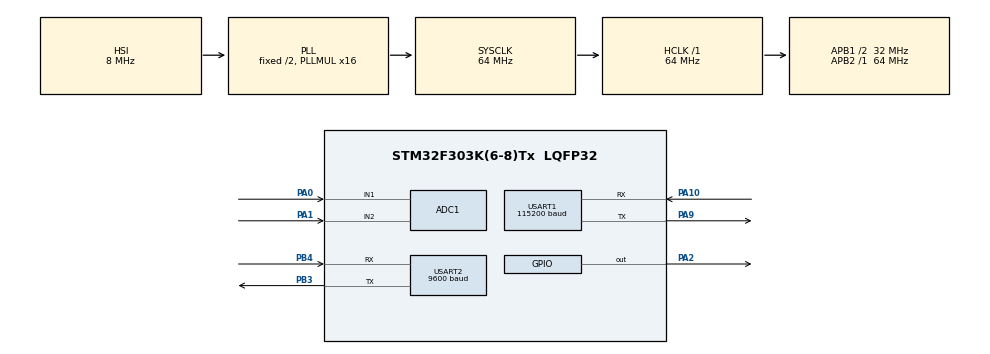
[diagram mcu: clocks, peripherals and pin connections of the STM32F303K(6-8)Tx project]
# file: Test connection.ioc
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ADC1.Channel-0\#ChannelRegularConversion=ADC_CHANNEL_2
ADC1.NbrOfConversionFlag=1
ADC1.Offset-0\#ChannelRegularConversion=0
ADC1.OffsetNumber-0\#ChannelRegularConversion=ADC_OFFSET_NONE
ADC1.Rank-0\#ChannelRegularConversion=1
ADC1.SamplingTime-0\#ChannelRegularConversion=ADC_SAMPLETIME_1CYCLE_5
ADC1.SubFamily=STM32F303x8
ADC1.master=1
Mcu.Family=STM32F3
Mcu.Name=STM32F303K(6-8)Tx
Mcu.Package=LQFP32
NVIC.PriorityGroup=NVIC_PRIORITYGROUP_4
NVIC.USART1_IRQn=true\:0\:0\:false\:false\:true\:true\:true\:true
NVIC.USART2_IRQn=true\:0\:0\:false\:false\:true\:true\:true\:true
PA0.Mode=IN1-Single-Ended
PA0.Signal=ADC1_IN1
PA1.Mode=IN2-Single-Ended
PA1.Signal=ADC1_IN2
PA10.Mode=Asynchronous
PA10.Signal=USART1_RX
PA13.Mode=Serial_Wire
PA13.Signal=SYS_JTMS-SWDIO
PA14.Mode=Serial_Wire
PA14.Signal=SYS_JTCK-SWCLK
PA2.Signal=GPIO_Output
PA9.Mode=Asynchronous
PA9.Signal=USART1_TX
PB3.GPIO_ModeDefaultPP=GPIO_MODE_AF_OD
PB3.GPIO_PuPd=GPIO_NOPULL
PB3.Mode=Asynchronous
PB3.Signal=USART2_TX
PB4.Mode=Asynchronous
PB4.Signal=USART2_RX
ProjectManager.HeapSize=0x200
ProjectManager.StackSize=0x400
ProjectManager.TargetToolchain=STM32CubeIDE
RCC.AHBFreq_Value=64000000
RCC.APB1CLKDivider=RCC_HCLK_DIV2
RCC.APB1Freq_Value=32000000
RCC.APB1TimFreq_Value=64000000
RCC.APB2Freq_Value=64000000
RCC.APB2TimFreq_Value=64000000
RCC.CortexFreq_Value=64000000
RCC.HCLKFreq_Value=64000000
RCC.HSE_VALUE=8000000
RCC.HSI_VALUE=8000000
RCC.PLLMUL=RCC_PLL_MUL16
RCC.SYSCLKFreq_VALUE=64000000
RCC.SYSCLKSourceVirtual=RCC_SYSCLKSOURCE_PLLCLK
USART1.BaudRate=115200
USART1.VirtualMode-Asynchronous=VM_ASYNC
USART2.BaudRate=9600
USART2.VirtualMode-Asynchronous=VM_ASYNC
board=custom

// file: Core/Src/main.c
/* USER CODE BEGIN Header */
/**
  ******************************************************************************
  * @file           : main.c
  * @brief          : Main program body
  ******************************************************************************
  * @attention
  *
  * Copyright (c) 2022 STMicroelectronics.
  * All rights reserved.
  *
  * This software is licensed under terms that can be found in the LICENSE file
  * in the root directory of this software component.
  * If no LICENSE file comes with this software, it is provided AS-IS.
  *
  ******************************************************************************
  */
/* USER CODE END Header */
#include "main.h"

/* USER CODE BEGIN Includes */
#include <stdio.h>
#include <string.h>

#define rx_buffer_size 512
#define rxn_buffer_size 512

uint8_t rx_buffer[rx_buffer_size] = { 0, };
uint8_t rxn_buffer[rxn_buffer_size] = { 0, };

 uint16_t rx_buffer_len;
 uint16_t rxn_buffer_len;

 uint8_t comand=0;
 uint8_t data_len=0;
 uint8_t version=0;
 uint16_t summ=0;
 uint8_t data_point=0;
 int cnt=0;
 char buffer[512] = { 0, };
 char buffer_t[512] ={0,};
 char buffer_n[512] ={0,};
 //uint8_t tm_buffer[tm_buffer_size] = { 0, };
 uint16_t tm_buffer_len;
 uint8_t tm_buffer[]={0x55,0xaa,0x00,0x06,0x00,0x08,0x10,0x02,0x00,0x04,0x00,0x00,0x01,0x8b,0xaf};

/* USER CODE END Includes */

ADC_HandleTypeDef hadc1;

UART_HandleTypeDef huart1;
UART_HandleTypeDef huart2;

void SystemClock_Config(void);
static void MX_GPIO_Init(void);
static void MX_ADC1_Init(void);
static void MX_USART1_UART_Init(void);
static void MX_USART2_UART_Init(void);
/* USER CODE BEGIN PFP */
void UART_SNIFF(void);
/* USER CODE END PFP */

/* USER CODE BEGIN 0 */

void UART_SNIFF(void){

	   for(int k=0;k<rx_buffer_len;){
		  sprintf(buffer_n, "%02x,",rx_buffer[k]);
		  HAL_UART_Transmit(&huart1,buffer_n,3,400);
		  k++;}

	for(cnt=0;cnt<rx_buffer_len;)   {

	   if((rx_buffer[cnt]==0x55)&&(rx_buffer[cnt+1]==0xAA)){
	   version=rx_buffer[cnt+2];
	   comand=rx_buffer[cnt+3];
	   data_len=rx_buffer[cnt+5];
	   data_point=rx_buffer[cnt+6];
	   summ=0;

    for(int i=cnt;i<=cnt+5+data_len;i++){
	   summ=rx_buffer[i]+summ;  }
	   summ=summ%256;

	   sprintf(buffer, "\n\rVers-%02x Cmd-%02x Data LEN-%02d DT_PT-%02x CHKS-%02x \n\r",version,comand,data_len,data_point,summ);
	   HAL_UART_Transmit(&huart1, buffer, strlen(buffer),400);

	   for(int k=cnt+6;k<=(cnt+data_len+5);){
	   sprintf(buffer_t, "Dat %02d-%02x \n\r",(k-6-cnt),rx_buffer[k]);
	   HAL_UART_Transmit(&huart1, buffer_t,12,300);
	   k++;  }

    for(int k=cnt;k<=(cnt+data_len+6);){
	   sprintf(buffer_n, "%02x, ",rx_buffer[k]);
	   HAL_UART_Transmit(&huart1,buffer_n,3,400);
	   k++; }

	   }

	   cnt++;
	}

}

void HAL_UART_RxCpltCallback(UART_HandleTypeDef *huart){

 /*
	if (huart == &huart2) { //проверка, из нужного ли uart пришли данные
				//printf("RxCpltCallback = OK\n\r");
				__HAL_UART_DISABLE_IT(&huart2, UART_IT_IDLE);

			//	printf("rx_buffer is overflow\n\r");

				HAL_UART_AbortReceive_IT(&huart2);
				__HAL_UART_CLEAR_IDLEFLAG(&huart2);
				__HAL_UART_ENABLE_IT(&huart2, UART_IT_IDLE);
				HAL_UART_Receive_IT(&huart2, rx_buffer, rx_buffer_size);

                                  	}
    */
	if (huart == &huart1) { //проверка, из нужного ли uart пришли данные
					//printf("RxCpltCallback = OK\n\r");
					__HAL_UART_DISABLE_IT(&huart1, UART_IT_IDLE);

				//	printf("rx_buffer is overflow\n\r");

					HAL_UART_AbortReceive_IT(&huart1);
					__HAL_UART_CLEAR_IDLEFLAG(&huart1);
					__HAL_UART_ENABLE_IT(&huart1, UART_IT_IDLE);
					HAL_UART_Receive_IT(&huart1, rxn_buffer, rxn_buffer_size);

	                                  	}
                      }

void HAL_UART_IDLE_Callback(UART_HandleTypeDef *huart){
  /*
   if(huart == &huart2) { //проверка, из нужного ли uart пришли данные
			//printf("IDLE = OK\n\r");
			__HAL_UART_DISABLE_IT(&huart2, UART_IT_IDLE);
			rx_buffer_len = rx_buffer_size - huart->RxXferCount;

			//----------основные действия с входящими данными-----------
			if(huart2.gState != HAL_UART_STATE_BUSY_TX) {

				        UART_SNIFF();

			         	HAL_UART_AbortReceive_IT(&huart2);
							__HAL_UART_CLEAR_IDLEFLAG(&huart2);
							__HAL_UART_ENABLE_IT(&huart2, UART_IT_IDLE);
							HAL_UART_Receive_IT(&huart2, rx_buffer, rx_buffer_size);
							//HAL_UART_Transmit(&huart2, tm_buffer,15,1000);
						}

		          	}
     */
   if(huart == &huart1) { //проверка, из нужного ли uart пришли данные
  			//printf("IDLE = OK\n\r");
  			__HAL_UART_DISABLE_IT(&huart1, UART_IT_IDLE);
  			rxn_buffer_len = rxn_buffer_size - huart->RxXferCount;

  			//----------основные действия с входящими данными-----------
  			if(huart1.gState != HAL_UART_STATE_BUSY_RX) {

  				      //  UART_SNIFF();
  				HAL_UART_Transmit(&huart1, rxn_buffer,strlen(rxn_buffer),100);
  			         	HAL_UART_AbortReceive_IT(&huart1);
  							__HAL_UART_CLEAR_IDLEFLAG(&huart1);
  							__HAL_UART_ENABLE_IT(&huart1, UART_IT_IDLE);
  							HAL_UART_Receive_IT(&huart1, rxn_buffer, rxn_buffer_size);}

  		          	}

                 }

/* USER CODE END 0 */

int main(void)
{

  /* MCU Configuration--------------------------------------------------------*/

  /* Reset of all peripherals, Initializes the Flash interface and the Systick. */
  HAL_Init();

  /* Configure the system clock */
  SystemClock_Config();

  /* Initialize all configured peripherals */
  MX_GPIO_Init();
  MX_ADC1_Init();
  MX_USART1_UART_Init();
  MX_USART2_UART_Init();
  /* USER CODE BEGIN 2 */

  __HAL_UART_ENABLE_IT(&huart1,UART_IT_IDLE);
  HAL_UART_Receive_IT(&huart1, rxn_buffer, rxn_buffer_size);

  __HAL_UART_ENABLE_IT(&huart2,UART_IT_IDLE);
 HAL_UART_Receive_IT(&huart2, rx_buffer, rx_buffer_size);

  /* USER CODE END 2 */

  /* Infinite loop */
  /* USER CODE BEGIN WHILE */
  while (1)
  {

	  HAL_Delay(2000);

    /* USER CODE END WHILE */

  }
}

void SystemClock_Config(void)
{
  RCC_OscInitTypeDef RCC_OscInitStruct = {0};
  RCC_ClkInitTypeDef RCC_ClkInitStruct = {0};
  RCC_PeriphCLKInitTypeDef PeriphClkInit = {0};

  /** Initializes the RCC Oscillators according to the specified parameters
  * in the RCC_OscInitTypeDef structure.
  */
  RCC_OscInitStruct.OscillatorType = RCC_OSCILLATORTYPE_HSI;
  RCC_OscInitStruct.HSIState = RCC_HSI_ON;
  RCC_OscInitStruct.HSICalibrationValue = RCC_HSICALIBRATION_DEFAULT;
  RCC_OscInitStruct.PLL.PLLState = RCC_PLL_ON;
  RCC_OscInitStruct.PLL.PLLSource = RCC_PLLSOURCE_HSI;
  RCC_OscInitStruct.PLL.PLLMUL = RCC_PLL_MUL16;
  if (HAL_RCC_OscConfig(&RCC_OscInitStruct) != HAL_OK)
  {
    Error_Handler();
  }

  /** Initializes the CPU, AHB and APB buses clocks
  */
  RCC_ClkInitStruct.ClockType = RCC_CLOCKTYPE_HCLK|RCC_CLOCKTYPE_SYSCLK
                              |RCC_CLOCKTYPE_PCLK1|RCC_CLOCKTYPE_PCLK2;
  RCC_ClkInitStruct.SYSCLKSource = RCC_SYSCLKSOURCE_PLLCLK;
  RCC_ClkInitStruct.AHBCLKDivider = RCC_SYSCLK_DIV1;
  RCC_ClkInitStruct.APB1CLKDivider = RCC_HCLK_DIV2;
  RCC_ClkInitStruct.APB2CLKDivider = RCC_HCLK_DIV1;

  if (HAL_RCC_ClockConfig(&RCC_ClkInitStruct, FLASH_LATENCY_2) != HAL_OK)
  {
    Error_Handler();
  }
  PeriphClkInit.PeriphClockSelection = RCC_PERIPHCLK_USART1|RCC_PERIPHCLK_ADC12;
  PeriphClkInit.Usart1ClockSelection = RCC_USART1CLKSOURCE_PCLK1;
  PeriphClkInit.Adc12ClockSelection = RCC_ADC12PLLCLK_DIV1;
  if (HAL_RCCEx_PeriphCLKConfig(&PeriphClkInit) != HAL_OK)
  {
    Error_Handler();
  }
}

static void MX_ADC1_Init(void)
{

  ADC_MultiModeTypeDef multimode = {0};
  ADC_ChannelConfTypeDef sConfig = {0};

  /** Common config
  */
  hadc1.Instance = ADC1;
  hadc1.Init.ClockPrescaler = ADC_CLOCK_ASYNC_DIV1;
  hadc1.Init.Resolution = ADC_RESOLUTION_12B;
  hadc1.Init.ScanConvMode = ADC_SCAN_DISABLE;
  hadc1.Init.ContinuousConvMode = DISABLE;
  hadc1.Init.DiscontinuousConvMode = DISABLE;
  hadc1.Init.ExternalTrigConvEdge = ADC_EXTERNALTRIGCONVEDGE_NONE;
  hadc1.Init.ExternalTrigConv = ADC_SOFTWARE_START;
  hadc1.Init.DataAlign = ADC_DATAALIGN_RIGHT;
  hadc1.Init.NbrOfConversion = 1;
  hadc1.Init.DMAContinuousRequests = DISABLE;
  hadc1.Init.EOCSelection = ADC_EOC_SINGLE_CONV;
  hadc1.Init.LowPowerAutoWait = DISABLE;
  hadc1.Init.Overrun = ADC_OVR_DATA_OVERWRITTEN;
  if (HAL_ADC_Init(&hadc1) != HAL_OK)
  {
    Error_Handler();
  }

  /** Configure the ADC multi-mode
  */
  multimode.Mode = ADC_MODE_INDEPENDENT;
  if (HAL_ADCEx_MultiModeConfigChannel(&hadc1, &multimode) != HAL_OK)
  {
    Error_Handler();
  }

  /** Configure Regular Channel
  */
  sConfig.Channel = ADC_CHANNEL_2;
  sConfig.Rank = ADC_REGULAR_RANK_1;
  sConfig.SingleDiff = ADC_SINGLE_ENDED;
  sConfig.SamplingTime = ADC_SAMPLETIME_1CYCLE_5;
  sConfig.OffsetNumber = ADC_OFFSET_NONE;
  sConfig.Offset = 0;
  if (HAL_ADC_ConfigChannel(&hadc1, &sConfig) != HAL_OK)
  {
    Error_Handler();
  }

}

static void MX_USART1_UART_Init(void)
{

  huart1.Instance = USART1;
  huart1.Init.BaudRate = 115200;
  huart1.Init.WordLength = UART_WORDLENGTH_8B;
  huart1.Init.StopBits = UART_STOPBITS_1;
  huart1.Init.Parity = UART_PARITY_NONE;
  huart1.Init.Mode = UART_MODE_TX_RX;
  huart1.Init.HwFlowCtl = UART_HWCONTROL_NONE;
  huart1.Init.OverSampling = UART_OVERSAMPLING_16;
  huart1.Init.OneBitSampling = UART_ONE_BIT_SAMPLE_DISABLE;
  huart1.AdvancedInit.AdvFeatureInit = UART_ADVFEATURE_NO_INIT;
  if (HAL_UART_Init(&huart1) != HAL_OK)
  {
    Error_Handler();
  }

}

static void MX_USART2_UART_Init(void)
{

  huart2.Instance = USART2;
  huart2.Init.BaudRate = 9600;
  huart2.Init.WordLength = UART_WORDLENGTH_8B;
  huart2.Init.StopBits = UART_STOPBITS_1;
  huart2.Init.Parity = UART_PARITY_NONE;
  huart2.Init.Mode = UART_MODE_TX_RX;
  huart2.Init.HwFlowCtl = UART_HWCONTROL_NONE;
  huart2.Init.OverSampling = UART_OVERSAMPLING_16;
  huart2.Init.OneBitSampling = UART_ONE_BIT_SAMPLE_DISABLE;
  huart2.AdvancedInit.AdvFeatureInit = UART_ADVFEATURE_NO_INIT;
  if (HAL_UART_Init(&huart2) != HAL_OK)
  {
    Error_Handler();
  }

}

static void MX_GPIO_Init(void)
{
  GPIO_InitTypeDef GPIO_InitStruct = {0};

  /* GPIO Ports Clock Enable */
  __HAL_RCC_GPIOA_CLK_ENABLE();
  __HAL_RCC_GPIOB_CLK_ENABLE();

  /*Configure GPIO pin Output Level */
  HAL_GPIO_WritePin(GPIOA, GPIO_PIN_2, GPIO_PIN_RESET);

  /*Configure GPIO pin : PA2 */
  GPIO_InitStruct.Pin = GPIO_PIN_2;
  GPIO_InitStruct.Mode = GPIO_MODE_OUTPUT_PP;
  GPIO_InitStruct.Pull = GPIO_NOPULL;
  GPIO_InitStruct.Speed = GPIO_SPEED_FREQ_LOW;
  HAL_GPIO_Init(GPIOA, &GPIO_InitStruct);

}

void Error_Handler(void)
{
  __disable_irq();
  while (1)
  {
  }
}
